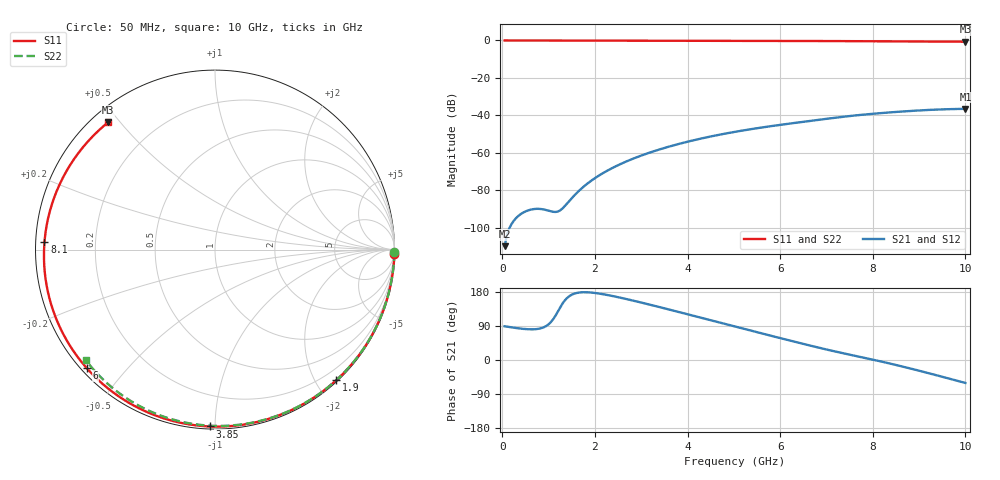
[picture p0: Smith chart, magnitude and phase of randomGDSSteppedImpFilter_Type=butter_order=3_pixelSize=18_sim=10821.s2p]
! freq	dB(S11)	phase(S11)	dB(S12)	phase(S12)
!  dB(S21)	phase(S21)	dB(S22)	phase(S22)
!S-par simulation data
#  GHz  S  DB  R 50
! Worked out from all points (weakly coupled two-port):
!   200 points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, 50 MHz to 10 GHz, reference 50 ohm
!   highest |S21| = -36.55 dB at 10 GHz (marker M1); lowest = -109.9 dB at 50 MHz (marker M2)
!   lowest |S11| = -0.7 dB at 10 GHz (marker M3), VSWR 26.05, Z = 2.33 + j23.2 ohm
!   |S11| at or under -10 dB: nowhere
!   |S22| runs from -0.5 to 0.0 dB; largest |S21 - S12| = 0
!   S11 on the Smith chart (normalised r, x): 50 MHz: 0, -90; 1.9 GHz: 0.02, -2.29; 3.85 GHz: 0.01, -0.97; 6 GHz: 0.02, -0.39; 8.1 GHz: 0.03, +0.02; 10 GHz: 0.05, +0.46
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0.05  -0.00 -1.3  -109.94 89.0  -109.94 89.0  -0.00 -0.8
0.8  -0.03 -20.1  -90.02 82.7  -90.02 82.7  -0.02 -12.8
1.2  -0.04 -30.1  -91.43 127.9  -91.43 127.9  -0.02 -19.2
1.65  -0.05 -41.1  -80.49 177.8  -80.49 177.8  -0.03 -26.3
1.75  -0.06 -43.5  -78.26 178.8  -78.26 178.8  -0.04 -27.8
1.9  -0.06 -47.1  -75.33 178.2  -75.33 178.2  -0.04 -30.2
2.2  -0.07 -54.2  -70.52 173.1  -70.52 173.1  -0.04 -34.8
2.55  -0.08 -62.4  -66.08 164.5  -66.08 164.5  -0.05 -40.2
2.95  -0.09 -71.7  -61.98 153.1  -61.98 153.1  -0.06 -46.2
3.4  -0.11 -81.8  -58.21 139.5  -58.21 139.5  -0.07 -52.9
3.85  -0.12 -91.8  -55.06 125.5  -55.06 125.5  -0.08 -59.5
4.45  -0.15 -104.7  -51.57 106.5  -51.57 106.5  -0.10 -68.1
5.05  -0.18 -117.5  -48.72 87.5  -48.72 87.5  -0.12 -76.5
6  -0.24 -137.3  -45.12 57.8  -45.12 57.8  -0.16 -89.4
6.7  -0.29 -152.0  -42.84 36.5  -42.84 36.5  -0.19 -98.5
7.4  -0.36 -167.0  -40.68 16.8  -40.68 16.8  -0.24 -107.5
8.1  -0.44 177.4  -38.98 -1.7  -38.98 -1.7  -0.29 -116.2
8.35  -0.47 171.7  -38.48 -8.7  -38.48 -8.7  -0.31 -119.3
8.8  -0.53 161.0  -37.70 -22.1  -37.70 -22.1  -0.35 -124.8
9.2  -0.58 151.1  -37.15 -34.6  -37.15 -34.6  -0.39 -129.7
9.6  -0.63 140.8  -36.75 -47.5  -36.75 -47.5  -0.43 -134.6
10  -0.67 130.1  -36.55 -60.6  -36.55 -60.6  -0.47 -139.5
